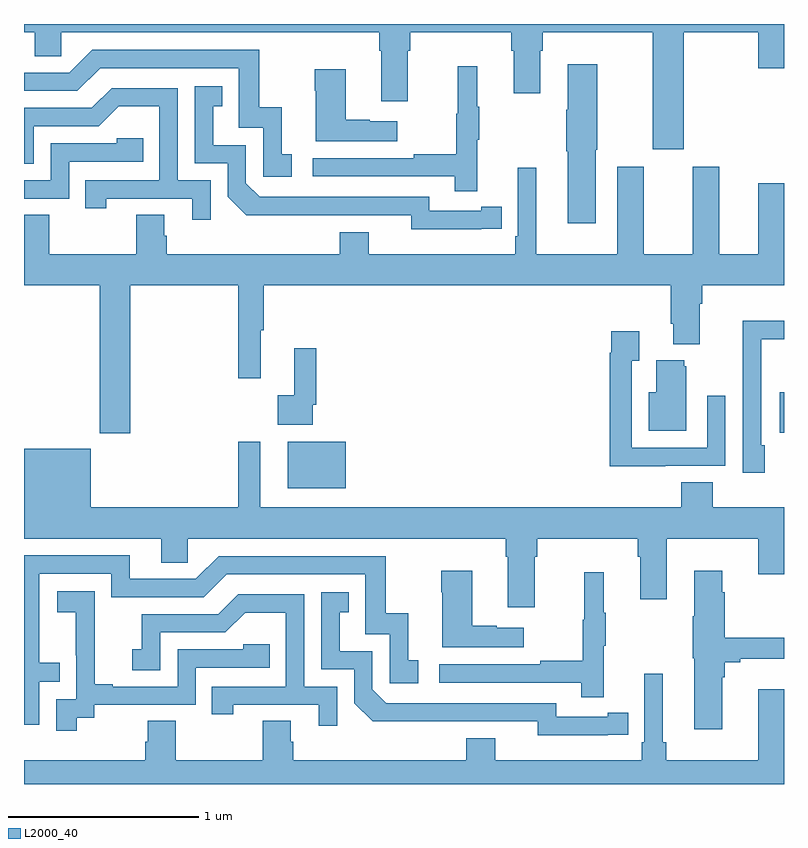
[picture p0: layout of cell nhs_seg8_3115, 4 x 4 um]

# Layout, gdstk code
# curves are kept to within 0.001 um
import gdstk
lib = gdstk.Library(unit=1e-6, precision=1e-09)
def R(c, l, rs):  # rectangles x0, y0, x1, y1
    for r in rs: c.add(gdstk.rectangle(r[:2], r[2:], *l))
def P(c, l, *ps):  # polygons
    for p in ps: c.add(gdstk.Polygon(p, *l))
L2000_40 = (2000, 40)

nhs_seg8_3115 = lib.new_cell('nhs_seg8_3115')
R(nhs_seg8_3115, L2000_40, [(306.389,1091.456,306.694,1091.701), (308.978,1091.75,309,1091.962)])
P(nhs_seg8_3115, L2000_40, [(305,1093.856),(305.057,1093.856),(305.057,1093.729),(305.196,1093.729),(305.196,1093.856),(306.869,1093.856),(306.869,1093.76),(306.881,1093.76),(306.881,1093.494),(307.021,1093.494),(307.021,1093.76),(307.034,1093.76),(307.034,1093.856),(307.565,1093.856),(307.565,1093.76),(307.577,1093.76),(307.577,1093.536),(307.717,1093.536),(307.717,1093.76),(307.73,1093.76),(307.73,1093.856),(308.309,1093.856),(308.309,1093.242),(308.473,1093.242),(308.473,1093.856),(308.864,1093.856),(308.864,1093.668),(309,1093.668),(309,1093.9),(305,1093.9)],
  [(306.409,1093.215),(306.356,1093.215),(306.356,1093.462),(306.238,1093.462),(306.238,1093.764),(305.358,1093.764),(305.238,1093.644),(305,1093.644),(305,1093.548),(305.28,1093.548),(305.4,1093.668),(306.129,1093.668),(306.129,1093.353),(306.258,1093.353),(306.258,1093.095),(306.409,1093.095)],
  [(308.008,1093.237),(308.016,1093.237),(308.016,1093.687),(307.862,1093.687),(307.862,1093.448),(307.855,1093.448),(307.855,1093.231),(307.862,1093.231),(307.862,1092.852),(308.008,1092.852)],
  [(307.385,1093.291),(307.396,1093.291),(307.396,1093.465),(307.385,1093.465),(307.385,1093.678),(307.282,1093.678),(307.282,1093.428),(307.275,1093.428),(307.275,1093.214),(307.051,1093.214),(307.051,1093.194),(306.519,1093.194),(306.519,1093.098),(307.267,1093.098),(307.267,1093.02),(307.385,1093.02)],
  [(306.964,1093.387),(306.821,1093.387),(306.821,1093.397),(306.694,1093.397),(306.694,1093.663),(306.529,1093.663),(306.529,1093.55),(306.536,1093.55),(306.536,1093.283),(306.964,1093.283)],
  [(307.406,1092.822),(307.514,1092.822),(307.514,1092.938),(307.406,1092.938),(307.406,1092.918),(307.134,1092.918),(307.134,1092.99),(306.24,1092.99),(306.168,1093.062),(306.168,1093.263),(305.995,1093.263),(305.995,1093.467),(306.044,1093.467),(306.044,1093.573),(305.898,1093.573),(305.898,1093.167),(306.072,1093.167),(306.072,1092.99),(306.17,1092.893),(307.038,1092.894),(307.038,1092.821)],
  [(305.982,1093.077),(305.808,1093.077),(305.808,1093.563),(305.462,1093.563),(305.357,1093.458),(305,1093.458),(305,1093.164),(305.052,1093.164),(305.052,1093.362),(305.394,1093.362),(305.498,1093.466),(305.712,1093.466),(305.712,1093.077),(305.323,1093.077),(305.323,1092.93),(305.434,1092.93),(305.434,1092.981),(305.885,1092.981),(305.885,1092.87),(305.982,1092.87)],
  [(305.238,1093.176),(305.627,1093.176),(305.627,1093.299),(305.487,1093.299),(305.487,1093.272),(305.142,1093.272),(305.142,1093.077),(305,1093.077),(305,1092.981),(305.238,1092.981)],
  [(305.558,1092.524),(306.127,1092.524),(306.127,1092.036),(306.245,1092.036),(306.245,1092.288),(306.263,1092.288),(306.263,1092.524),(308.405,1092.524),(308.405,1092.322),(308.417,1092.322),(308.417,1092.215),(308.557,1092.215),(308.557,1092.428),(308.57,1092.428),(308.57,1092.524),(309,1092.524),(309,1093.063),(308.864,1093.063),(308.864,1092.688),(308.659,1092.688),(308.659,1093.15),(308.519,1093.15),(308.519,1092.688),(308.263,1092.688),(308.263,1093.15),(308.123,1093.15),(308.123,1092.688),(307.696,1092.688),(307.696,1093.144),(307.599,1093.144),(307.599,1092.784),(307.586,1092.784),(307.586,1092.688),(306.814,1092.688),(306.814,1092.805),(306.662,1092.805),(306.662,1092.688),(305.75,1092.688),(305.75,1092.786),(305.737,1092.786),(305.737,1092.896),(305.59,1092.896),(305.59,1092.688),(305.133,1092.688),(305.133,1092.896),(305,1092.896),(305,1092.524),(305.398,1092.524),(305.398,1091.745),(305.558,1091.745)],
  [(308.899,1091.682),(308.88,1091.682),(308.88,1091.986),(308.881,1091.986),(308.881,1092.24),(309,1092.24),(309,1092.338),(308.782,1092.338),(308.782,1092.031),(308.784,1092.031),(308.784,1091.538),(308.899,1091.538)],
  [(308.375,1091.574),(308.691,1091.574),(308.691,1091.944),(308.595,1091.944),(308.595,1091.67),(308.199,1091.67),(308.199,1092.127),(308.239,1092.127),(308.239,1092.283),(308.091,1092.283),(308.091,1092.17),(308.083,1092.17),(308.083,1091.573),(308.375,1091.573)],
  [(306.519,1091.896),(306.539,1091.896),(306.539,1092.193),(306.422,1092.193),(306.422,1091.945),(306.336,1091.945),(306.336,1091.792),(306.519,1091.792)],
  [(308.485,1092.099),(308.474,1092.099),(308.474,1092.13),(308.327,1092.13),(308.327,1091.962),(308.288,1091.962),(308.288,1091.759),(308.485,1091.759)],
  [(307.535,1091.096),(307.547,1091.096),(307.547,1090.83),(307.687,1090.83),(307.687,1091.096),(307.7,1091.096),(307.7,1091.192),(308.231,1091.192),(308.231,1091.096),(308.243,1091.096),(308.243,1090.872),(308.383,1090.872),(308.383,1091.192),(308.864,1091.192),(308.864,1091.004),(309,1091.004),(309,1091.356),(308.624,1091.356),(308.624,1091.489),(308.459,1091.489),(308.459,1091.356),(306.244,1091.356),(306.244,1091.701),(306.127,1091.701),(306.127,1091.356),(305.35,1091.356),(305.35,1091.665),(305,1091.665),(305,1091.192),(305.723,1091.192),(305.723,1091.065),(305.862,1091.065),(305.862,1091.192),(307.535,1091.192)],
  [(305.079,1090.437),(305.189,1090.437),(305.189,1090.538),(305.079,1090.538),(305.079,1091.007),(305.46,1091.007),(305.46,1090.884),(305.946,1090.884),(306.066,1091.004),(306.795,1091.004),(306.795,1090.689),(306.924,1090.689),(306.924,1090.431),(307.075,1090.431),(307.075,1090.551),(307.022,1090.551),(307.022,1090.798),(306.904,1090.798),(306.904,1091.1),(306.024,1091.1),(305.904,1090.98),(305.557,1090.98),(305.557,1091.103),(305,1091.103),(305,1090.212),(305.079,1090.212)],
  [(308.674,1090.463),(308.687,1090.463),(308.687,1090.54),(308.77,1090.54),(308.77,1090.559),(309,1090.559),(309,1090.669),(308.687,1090.669),(308.687,1090.91),(308.674,1090.91),(308.674,1091.023),(308.528,1091.023),(308.528,1090.784),(308.521,1090.784),(308.521,1090.563),(308.528,1090.563),(308.528,1090.188),(308.674,1090.188)],
  [(307.63,1090.723),(307.487,1090.723),(307.487,1090.733),(307.36,1090.733),(307.36,1091.023),(307.195,1091.023),(307.195,1090.91),(307.202,1090.91),(307.202,1090.619),(307.63,1090.619)],
  [(308.051,1090.627),(308.062,1090.627),(308.062,1090.801),(308.051,1090.801),(308.051,1091.014),(307.948,1091.014),(307.948,1090.764),(307.941,1090.764),(307.941,1090.55),(307.717,1090.55),(307.717,1090.53),(307.185,1090.53),(307.185,1090.434),(307.933,1090.434),(307.933,1090.356),(308.051,1090.356)],
  [(305.278,1090.249),(305.37,1090.249),(305.37,1090.317),(305.904,1090.317),(305.904,1090.512),(306.293,1090.512),(306.293,1090.635),(306.153,1090.635),(306.153,1090.608),(305.808,1090.608),(305.808,1090.413),(305.467,1090.413),(305.467,1090.426),(305.372,1090.426),(305.372,1090.709),(305.373,1090.709),(305.373,1090.915),(305.175,1090.915),(305.175,1090.805),(305.273,1090.805),(305.273,1090.577),(305.274,1090.577),(305.274,1090.347),(305.169,1090.347),(305.169,1090.179),(305.278,1090.179)],
  [(308.072,1090.158),(308.18,1090.158),(308.18,1090.274),(308.072,1090.274),(308.072,1090.254),(307.8,1090.254),(307.8,1090.326),(306.906,1090.326),(306.834,1090.398),(306.834,1090.599),(306.661,1090.599),(306.661,1090.803),(306.71,1090.803),(306.71,1090.909),(306.564,1090.909),(306.564,1090.503),(306.738,1090.503),(306.738,1090.326),(306.836,1090.229),(307.704,1090.23),(307.704,1090.157)],
  [(306.648,1090.413),(306.474,1090.413),(306.474,1090.899),(306.128,1090.899),(306.023,1090.794),(305.62,1090.794),(305.62,1090.609),(305.571,1090.609),(305.571,1090.5),(305.718,1090.5),(305.718,1090.698),(306.06,1090.698),(306.164,1090.802),(306.378,1090.802),(306.378,1090.413),(305.989,1090.413),(305.989,1090.266),(306.1,1090.266),(306.1,1090.317),(306.551,1090.317),(306.551,1090.206),(306.648,1090.206)],
  [(309,1090.399),(308.864,1090.399),(308.864,1090.024),(308.381,1090.024),(308.381,1090.12),(308.362,1090.12),(308.362,1090.48),(308.265,1090.48),(308.265,1090.12),(308.252,1090.12),(308.252,1090.024),(307.48,1090.024),(307.48,1090.141),(307.328,1090.141),(307.328,1090.024),(306.416,1090.024),(306.416,1090.122),(306.403,1090.122),(306.403,1090.232),(306.256,1090.232),(306.256,1090.024),(305.799,1090.024),(305.799,1090.232),(305.651,1090.232),(305.651,1090.122),(305.639,1090.122),(305.639,1090.024),(305,1090.024),(305,1089.9),(309,1089.9)])

lib.write_gds('nhs_seg8_3115.gds')
